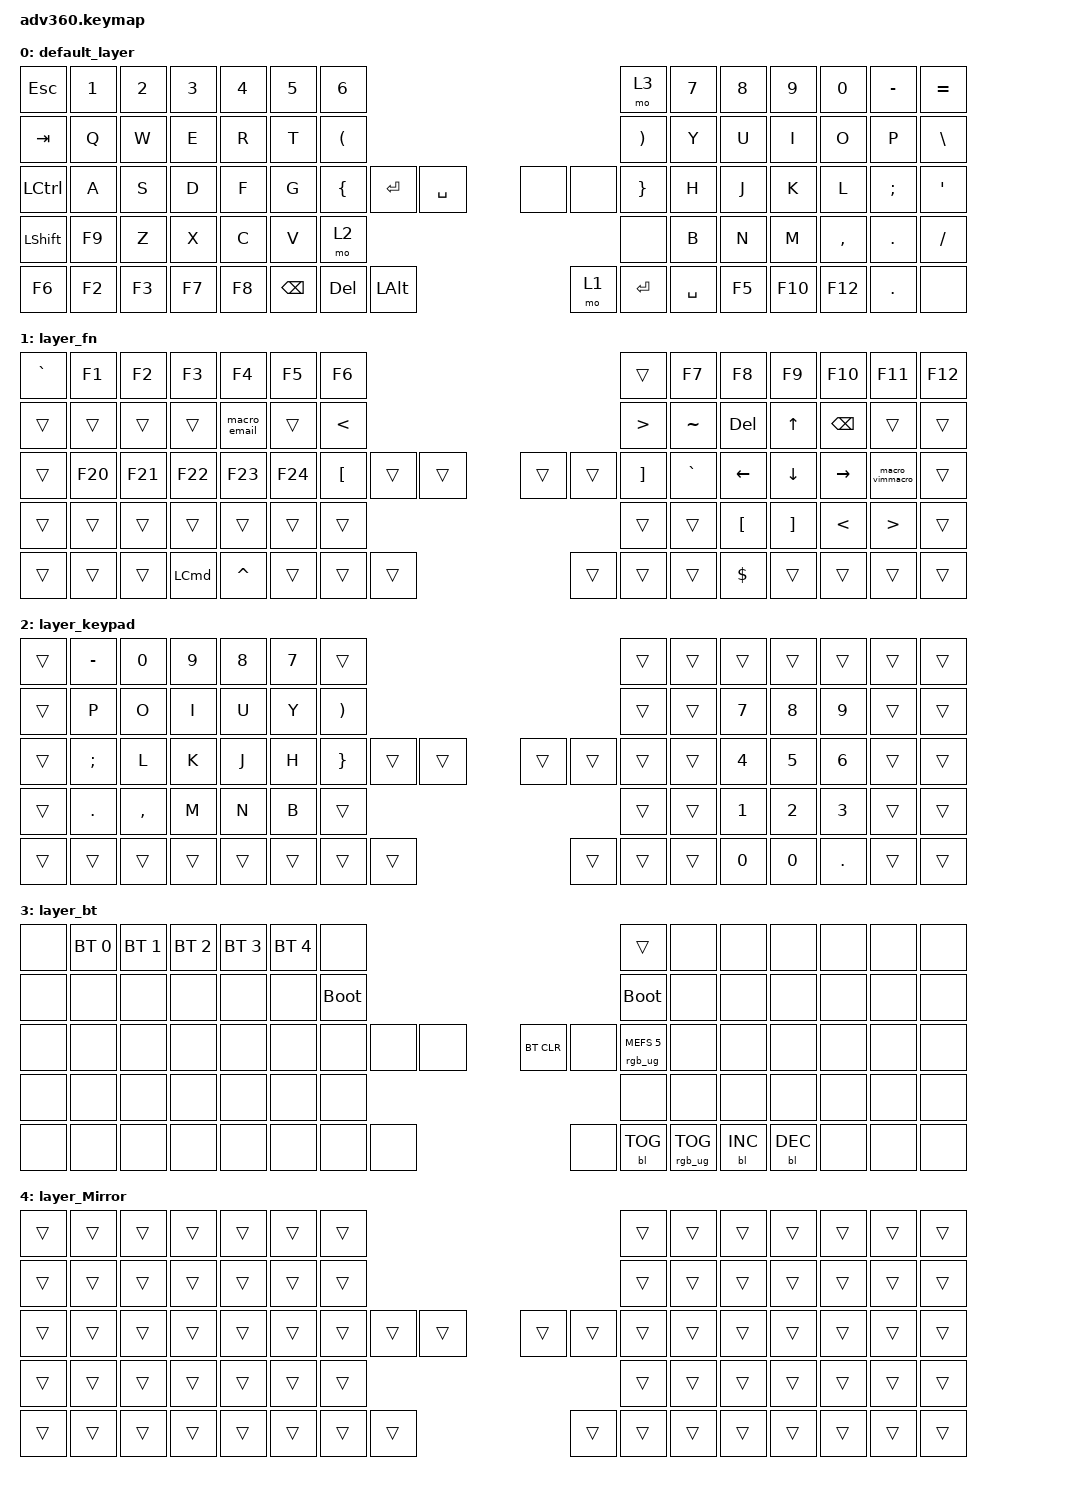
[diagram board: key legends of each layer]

/*
 * Copyright (c) 2020 The ZMK Contributors
 *
 * SPDX-License-Identifier: MIT
 */


/* THIS FILE WAS GENERATED!
 *
 * This file was generated automatically. You may or may not want to
 * edit it directly.
 */

#include <behaviors.dtsi>
#include <dt-bindings/zmk/keys.h>
#include <dt-bindings/zmk/bt.h>
#include <dt-bindings/zmk/rgb.h>
#include <dt-bindings/zmk/backlight.h>

/ {
  behaviors {
    #include "macros.dtsi"
    #include "version.dtsi"

    hm: homerow_mods {
        compatible = "zmk,behavior-hold-tap";
        label = "HOMEROW_MODS";
        #binding-cells = <2>;
        tapping-term-ms = <200>;
        quick_tap_ms = <175>;
        flavor = "tap-preferred";
        bindings = <&kp>, <&kp>;
    };
  };

    keymap {
        compatible = "zmk,keymap";


        default_layer {
            bindings = <
       &kp ESCAPE  &kp N1  &kp N2  &kp N3  &kp N4  &kp N5                    &kp NUMBER_6                                                                              &mo 3  &kp N7  &kp N8   &kp N9     &kp N0   &kp MINUS  &kp EQUAL
          &kp TAB   &kp Q   &kp W   &kp E   &kp R   &kp T            &kp LEFT_PARENTHESIS                                                              &kp RIGHT_PARENTHESIS   &kp Y   &kp U    &kp I      &kp O       &kp P   &kp BSLH
 &kp LEFT_CONTROL   &kp A   &kp S   &kp D   &kp F   &kp G                  &kp LEFT_BRACE  &kp ENTER     &kp SPACE                   &none      &none        &kp RIGHT_BRACE   &kp H   &kp J    &kp K      &kp L    &kp SEMI    &kp SQT
        &kp LSHFT  &kp F9   &kp Z   &kp X   &kp C   &kp V                                                    &mo 2                   &none                                     &kp B   &kp N    &kp M  &kp COMMA  &kp PERIOD  &kp SLASH
           &kp F6  &kp F2  &kp F3  &kp F7  &kp F8                                &kp BSPC    &kp DEL  &kp LEFT_ALT                   &mo 1  &kp ENTER              &kp SPACE          &kp F5  &kp F10    &kp F12  &kp PERIOD      &none
            >;
        };

        layer_fn {
            bindings = <
 &kp GRAVE   &kp F1   &kp F2    &kp F3        &kp F4   &kp F5                      &kp F6                                                             &trans     &kp F7            &kp F8             &kp F9        &kp F10           &kp F11  &kp F12
    &trans   &trans   &trans    &trans  &macro_email   &trans               &kp LESS_THAN                                                   &kp GREATER_THAN  &kp TILDE        &kp DELETE             &kp UP  &kp BACKSPACE            &trans   &trans
    &trans  &kp F20  &kp F21   &kp F22       &kp F23  &kp F24            &kp LEFT_BRACKET  &trans  &trans                  &trans  &trans  &kp RIGHT_BRACKET  &kp GRAVE          &kp LEFT           &kp DOWN      &kp RIGHT   &macro_vimmacro   &trans
    &trans   &trans   &trans    &trans        &trans   &trans                                      &trans                  &trans                                &trans  &kp LEFT_BRACKET  &kp RIGHT_BRACKET  &kp LESS_THAN  &kp GREATER_THAN   &trans
    &trans   &trans   &trans  &kp LCMD     &kp CARET                               &trans  &trans  &trans                  &trans  &trans             &trans                   &kp DOLLAR             &trans         &trans            &trans   &trans
            >;
        };

        layer_keypad {
            bindings = <
 &trans      &kp MINUS     &kp N0  &kp N9  &kp N8  &kp N7                           &trans                                                  &trans  &trans        &trans        &trans        &trans  &trans  &trans
 &trans          &kp P      &kp O   &kp I   &kp U   &kp Y            &kp RIGHT_PARENTHESIS                                                  &trans  &trans  &kp NUMBER_7  &kp NUMBER_8  &kp NUMBER_9  &trans  &trans
 &trans  &kp SEMICOLON      &kp L   &kp K   &kp J   &kp H                  &kp RIGHT_BRACE  &trans  &trans                  &trans  &trans  &trans  &trans  &kp NUMBER_4  &kp NUMBER_5  &kp NUMBER_6  &trans  &trans
 &trans     &kp PERIOD  &kp COMMA   &kp M   &kp N   &kp B                                           &trans                  &trans                  &trans  &kp NUMBER_1  &kp NUMBER_2  &kp NUMBER_3  &trans  &trans
 &trans         &trans     &trans  &trans  &trans                                   &trans  &trans  &trans                  &trans  &trans  &trans          &kp NUMBER_0  &kp NUMBER_0    &kp PERIOD  &trans  &trans
            >;
        };

        layer_bt {
            bindings = <
  &none  &bt BT_SEL 0  &bt BT_SEL 1  &bt BT_SEL 2  &bt BT_SEL 3  &bt BT_SEL 4                  &none                                                                          &trans   &none       &none       &none   &none   &none   &none
  &none         &none         &none         &none         &none         &none            &bootloader                                                                     &bootloader   &none       &none       &none   &none   &none   &none
  &none         &none         &none         &none         &none         &none                  &none   &none   &none                  &bt BT_CLR       &none  &rgb_ug RGB_MEFS_CMD 5   &none       &none       &none   &none   &none   &none
  &none         &none         &none         &none         &none         &none                                  &none                       &none                                       &none       &none       &none   &none   &none   &none
  &none         &none         &none         &none         &none                                &none   &none   &none                       &none  &bl BL_TOG         &rgb_ug RGB_TOG          &bl BL_INC  &bl BL_DEC   &none   &none   &none
            >;
        };

        layer_Mirror {
            bindings = <
 &trans  &trans  &trans  &trans  &trans  &trans            &trans                                                  &trans  &trans  &trans  &trans  &trans  &trans  &trans
 &trans  &trans  &trans  &trans  &trans  &trans            &trans                                                  &trans  &trans  &trans  &trans  &trans  &trans  &trans
 &trans  &trans  &trans  &trans  &trans  &trans            &trans  &trans  &trans                  &trans  &trans  &trans  &trans  &trans  &trans  &trans  &trans  &trans
 &trans  &trans  &trans  &trans  &trans  &trans                            &trans                  &trans                  &trans  &trans  &trans  &trans  &trans  &trans
 &trans  &trans  &trans  &trans  &trans                    &trans  &trans  &trans                  &trans  &trans  &trans          &trans  &trans  &trans  &trans  &trans
            >;
        };

    };
};
